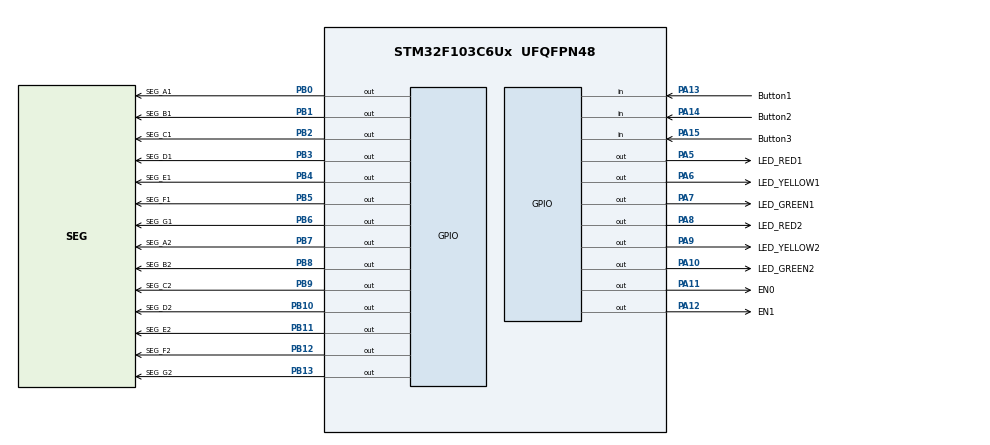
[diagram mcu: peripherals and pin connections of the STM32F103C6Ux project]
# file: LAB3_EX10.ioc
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Mcu.Family=STM32F1
Mcu.Name=STM32F103C6Ux
Mcu.Package=UFQFPN48
NVIC.PriorityGroup=NVIC_PRIORITYGROUP_4
NVIC.TIM2_IRQn=true\:0\:0\:false\:false\:true\:true\:true
PA10.GPIO_Label=LED_GREEN2
PA10.Signal=GPIO_Output
PA11.GPIO_Label=EN0
PA11.Signal=GPIO_Output
PA12.GPIO_Label=EN1
PA12.Signal=GPIO_Output
PA13.GPIO_Label=Button1
PA13.GPIO_PuPd=GPIO_PULLUP
PA13.Signal=GPIO_Input
PA14.GPIO_Label=Button2
PA14.GPIO_PuPd=GPIO_PULLUP
PA14.Signal=GPIO_Input
PA15.GPIO_Label=Button3
PA15.GPIO_PuPd=GPIO_PULLUP
PA15.Signal=GPIO_Input
PA5.GPIO_Label=LED_RED1
PA5.Signal=GPIO_Output
PA6.GPIO_Label=LED_YELLOW1
PA6.Signal=GPIO_Output
PA7.GPIO_Label=LED_GREEN1
PA7.Signal=GPIO_Output
PA8.GPIO_Label=LED_RED2
PA8.Signal=GPIO_Output
PA9.GPIO_Label=LED_YELLOW2
PA9.Signal=GPIO_Output
PB0.GPIO_Label=SEG_A1
PB0.Signal=GPIO_Output
PB1.GPIO_Label=SEG_B1
PB1.Signal=GPIO_Output
PB10.GPIO_Label=SEG_D2
PB10.Signal=GPIO_Output
PB11.GPIO_Label=SEG_E2
PB11.Signal=GPIO_Output
PB12.GPIO_Label=SEG_F2
PB12.Signal=GPIO_Output
PB13.GPIO_Label=SEG_G2
PB13.Signal=GPIO_Output
PB2.GPIO_Label=SEG_C1
PB2.Signal=GPIO_Output
PB3.GPIO_Label=SEG_D1
PB3.Signal=GPIO_Output
PB4.GPIO_Label=SEG_E1
PB4.Signal=GPIO_Output
PB5.GPIO_Label=SEG_F1
PB5.Signal=GPIO_Output
PB6.GPIO_Label=SEG_G1
PB6.Signal=GPIO_Output
PB7.GPIO_Label=SEG_A2
PB7.Signal=GPIO_Output
PB8.GPIO_Label=SEG_B2
PB8.Signal=GPIO_Output
PB9.GPIO_Label=SEG_C2
PB9.Signal=GPIO_Output
ProjectManager.HeapSize=0x200
ProjectManager.StackSize=0x400
ProjectManager.TargetToolchain=STM32CubeIDE
RCC.APB1Freq_Value=8000000
RCC.APB2Freq_Value=8000000
TIM2.Period=9
TIM2.Prescaler=7999
VP_SYS_VS_ND.Mode=No_Debug
VP_TIM2_VS_ClockSourceINT.Mode=Internal
board=custom

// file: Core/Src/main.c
/* USER CODE BEGIN Header */
/**
  ******************************************************************************
  * @file           : main.c
  * @brief          : Main program body
  ******************************************************************************
  * @attention
  *
  * <h2><center>&copy; Copyright (c) 2024 STMicroelectronics.
  * All rights reserved.</center></h2>
  *
  * This software component is licensed by ST under BSD 3-Clause license,
  * the "License"; You may not use this file except in compliance with the
  * License. You may obtain a copy of the License at:
  *                        opensource.org/licenses/BSD-3-Clause
  *
  ******************************************************************************
  */
/* USER CODE END Header */
#include "main.h"

/* USER CODE BEGIN Includes */
#include "software_timer.h"
#include "button.h"
#include "fsm_automatic.h"
#include "fsm_manual.h"
#include "fsm_setting.h"
/* USER CODE END Includes */

TIM_HandleTypeDef htim2;

void SystemClock_Config(void);
static void MX_GPIO_Init(void);
static void MX_TIM2_Init(void);

int main(void)
{

  /* MCU Configuration--------------------------------------------------------*/

  /* Reset of all peripherals, Initializes the Flash interface and the Systick. */
  HAL_Init();

  /* Configure the system clock */
  SystemClock_Config();

  /* Initialize all configured peripherals */
  MX_GPIO_Init();
  MX_TIM2_Init();
  /* USER CODE BEGIN 2 */
	HAL_TIM_Base_Start_IT(&htim2);
  /* USER CODE END 2 */

  /* Infinite loop */
  /* USER CODE BEGIN WHILE */

	status = INIT;
  while (1)
  {
		fsm_automatic_run();
		fsm_manual_run();
		fsm_setting_run();

    /* USER CODE END WHILE */

  }
}

void SystemClock_Config(void)
{
  RCC_OscInitTypeDef RCC_OscInitStruct = {0};
  RCC_ClkInitTypeDef RCC_ClkInitStruct = {0};

  /** Initializes the RCC Oscillators according to the specified parameters
  * in the RCC_OscInitTypeDef structure.
  */
  RCC_OscInitStruct.OscillatorType = RCC_OSCILLATORTYPE_HSI;
  RCC_OscInitStruct.HSIState = RCC_HSI_ON;
  RCC_OscInitStruct.HSICalibrationValue = RCC_HSICALIBRATION_DEFAULT;
  RCC_OscInitStruct.PLL.PLLState = RCC_PLL_NONE;
  if (HAL_RCC_OscConfig(&RCC_OscInitStruct) != HAL_OK)
  {
    Error_Handler();
  }
  /** Initializes the CPU, AHB and APB buses clocks
  */
  RCC_ClkInitStruct.ClockType = RCC_CLOCKTYPE_HCLK|RCC_CLOCKTYPE_SYSCLK
                              |RCC_CLOCKTYPE_PCLK1|RCC_CLOCKTYPE_PCLK2;
  RCC_ClkInitStruct.SYSCLKSource = RCC_SYSCLKSOURCE_HSI;
  RCC_ClkInitStruct.AHBCLKDivider = RCC_SYSCLK_DIV1;
  RCC_ClkInitStruct.APB1CLKDivider = RCC_HCLK_DIV1;
  RCC_ClkInitStruct.APB2CLKDivider = RCC_HCLK_DIV1;

  if (HAL_RCC_ClockConfig(&RCC_ClkInitStruct, FLASH_LATENCY_0) != HAL_OK)
  {
    Error_Handler();
  }
}

static void MX_TIM2_Init(void)
{

  TIM_ClockConfigTypeDef sClockSourceConfig = {0};
  TIM_MasterConfigTypeDef sMasterConfig = {0};

  htim2.Instance = TIM2;
  htim2.Init.Prescaler = 7999;
  htim2.Init.CounterMode = TIM_COUNTERMODE_UP;
  htim2.Init.Period = 9;
  htim2.Init.ClockDivision = TIM_CLOCKDIVISION_DIV1;
  htim2.Init.AutoReloadPreload = TIM_AUTORELOAD_PRELOAD_DISABLE;
  if (HAL_TIM_Base_Init(&htim2) != HAL_OK)
  {
    Error_Handler();
  }
  sClockSourceConfig.ClockSource = TIM_CLOCKSOURCE_INTERNAL;
  if (HAL_TIM_ConfigClockSource(&htim2, &sClockSourceConfig) != HAL_OK)
  {
    Error_Handler();
  }
  sMasterConfig.MasterOutputTrigger = TIM_TRGO_RESET;
  sMasterConfig.MasterSlaveMode = TIM_MASTERSLAVEMODE_DISABLE;
  if (HAL_TIMEx_MasterConfigSynchronization(&htim2, &sMasterConfig) != HAL_OK)
  {
    Error_Handler();
  }

}

static void MX_GPIO_Init(void)
{
  GPIO_InitTypeDef GPIO_InitStruct = {0};

  /* GPIO Ports Clock Enable */
  __HAL_RCC_GPIOA_CLK_ENABLE();
  __HAL_RCC_GPIOB_CLK_ENABLE();

  /*Configure GPIO pin Output Level */
  HAL_GPIO_WritePin(GPIOA, LED_RED1_Pin|LED_YELLOW1_Pin|LED_GREEN1_Pin|LED_RED2_Pin
                          |LED_YELLOW2_Pin|LED_GREEN2_Pin|EN0_Pin|EN1_Pin, GPIO_PIN_RESET);

  /*Configure GPIO pin Output Level */
  HAL_GPIO_WritePin(GPIOB, SEG_A1_Pin|SEG_B1_Pin|SEG_C1_Pin|SEG_D2_Pin
                          |SEG_E2_Pin|SEG_F2_Pin|SEG_G2_Pin|SEG_D1_Pin
                          |SEG_E1_Pin|SEG_F1_Pin|SEG_G1_Pin|SEG_A2_Pin
                          |SEG_B2_Pin|SEG_C2_Pin, GPIO_PIN_RESET);

  /*Configure GPIO pins : LED_RED1_Pin LED_YELLOW1_Pin LED_GREEN1_Pin LED_RED2_Pin
                           LED_YELLOW2_Pin LED_GREEN2_Pin EN0_Pin EN1_Pin */
  GPIO_InitStruct.Pin = LED_RED1_Pin|LED_YELLOW1_Pin|LED_GREEN1_Pin|LED_RED2_Pin
                          |LED_YELLOW2_Pin|LED_GREEN2_Pin|EN0_Pin|EN1_Pin;
  GPIO_InitStruct.Mode = GPIO_MODE_OUTPUT_PP;
  GPIO_InitStruct.Pull = GPIO_NOPULL;
  GPIO_InitStruct.Speed = GPIO_SPEED_FREQ_LOW;
  HAL_GPIO_Init(GPIOA, &GPIO_InitStruct);

  /*Configure GPIO pins : SEG_A1_Pin SEG_B1_Pin SEG_C1_Pin SEG_D2_Pin
                           SEG_E2_Pin SEG_F2_Pin SEG_G2_Pin SEG_D1_Pin
                           SEG_E1_Pin SEG_F1_Pin SEG_G1_Pin SEG_A2_Pin
                           SEG_B2_Pin SEG_C2_Pin */
  GPIO_InitStruct.Pin = SEG_A1_Pin|SEG_B1_Pin|SEG_C1_Pin|SEG_D2_Pin
                          |SEG_E2_Pin|SEG_F2_Pin|SEG_G2_Pin|SEG_D1_Pin
                          |SEG_E1_Pin|SEG_F1_Pin|SEG_G1_Pin|SEG_A2_Pin
                          |SEG_B2_Pin|SEG_C2_Pin;
  GPIO_InitStruct.Mode = GPIO_MODE_OUTPUT_PP;
  GPIO_InitStruct.Pull = GPIO_NOPULL;
  GPIO_InitStruct.Speed = GPIO_SPEED_FREQ_LOW;
  HAL_GPIO_Init(GPIOB, &GPIO_InitStruct);

  /*Configure GPIO pins : Button1_Pin Button2_Pin Button3_Pin */
  GPIO_InitStruct.Pin = Button1_Pin|Button2_Pin|Button3_Pin;
  GPIO_InitStruct.Mode = GPIO_MODE_INPUT;
  GPIO_InitStruct.Pull = GPIO_PULLUP;
  HAL_GPIO_Init(GPIOA, &GPIO_InitStruct);

}

/* USER CODE BEGIN 4 */

void HAL_TIM_PeriodElapsedCallback(TIM_HandleTypeDef *htim) {
	timerRun();
	getKey1Input();
	getKey2Input();
	getKey3Input();
}

/* USER CODE END 4 */

void Error_Handler(void)
{
  __disable_irq();
  while (1)
  {
  }
}

/************************ (C) COPYRIGHT STMicroelectronics *****END OF FILE****/
